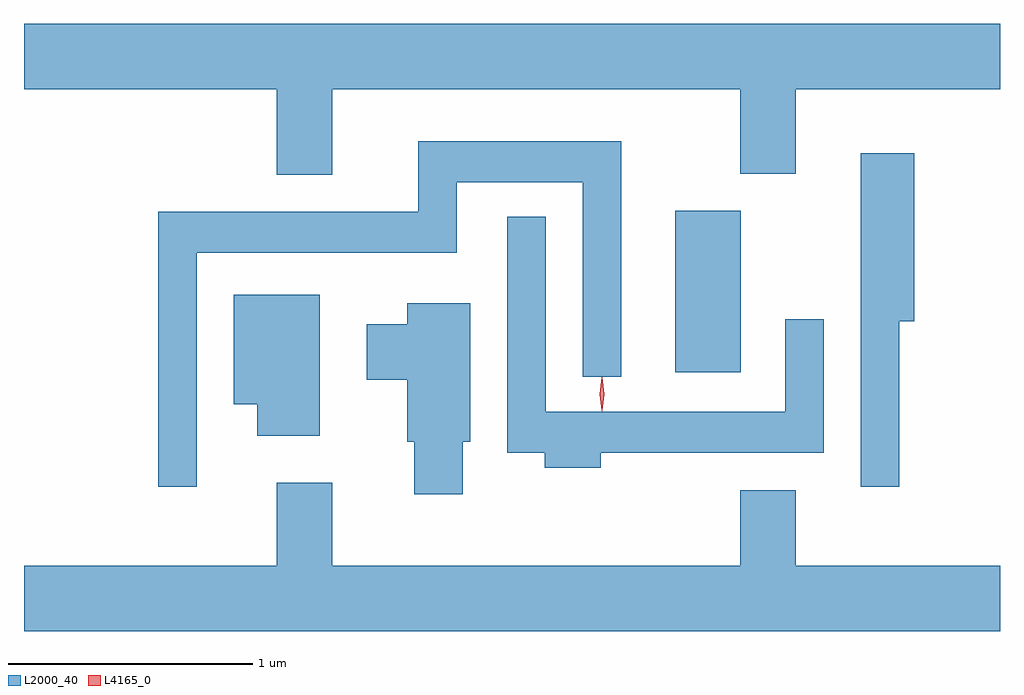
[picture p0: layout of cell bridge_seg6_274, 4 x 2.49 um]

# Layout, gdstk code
import gdstk
lib = gdstk.Library(unit=1e-6, precision=1e-09)
def R(c, l, rs):  # rectangles x0, y0, x1, y1
    for r in rs: c.add(gdstk.rectangle(r[:2], r[2:], *l))
def P(c, l, *ps):  # polygons
    for p in ps: c.add(gdstk.Polygon(p, *l))
L2000_40 = (2000, 40)
L4165_0 = (4165, 0)

bridge_seg6_274 = lib.new_cell('bridge_seg6_274')
R(bridge_seg6_274, L2000_40, [(1244.226,1562.196,1244.494,1562.859)])
P(bridge_seg6_274, L2000_40, [(1242.819,1563.356),(1244.491,1563.356),(1244.491,1563.011),(1244.719,1563.011),(1244.719,1563.356),(1245.556,1563.356),(1245.556,1563.624),(1241.556,1563.624),(1241.556,1563.356),(1242.591,1563.356),(1242.591,1563.006),(1242.819,1563.006)],
  [(1242.264,1562.686),(1243.329,1562.686),(1243.329,1562.976),(1243.846,1562.976),(1243.846,1562.178),(1244.004,1562.178),(1244.004,1563.144),(1243.171,1563.144),(1243.171,1562.854),(1242.106,1562.854),(1242.106,1561.728),(1242.264,1561.728)],
  [(1245.144,1562.406),(1245.204,1562.406),(1245.204,1563.094),(1244.986,1563.094),(1244.986,1561.728),(1245.144,1561.728)],
  [(1243.919,1561.866),(1244.834,1561.866),(1244.834,1562.413),(1244.676,1562.413),(1244.676,1562.034),(1243.694,1562.034),(1243.694,1562.833),(1243.536,1562.833),(1243.536,1561.866),(1243.691,1561.866),(1243.691,1561.806),(1243.919,1561.806)],
  [(1242.769,1562.514),(1242.416,1562.514),(1242.416,1562.066),(1242.511,1562.066),(1242.511,1561.936),(1242.769,1561.936)],
  [(1243.354,1561.911),(1243.384,1561.911),(1243.384,1562.479),(1243.126,1562.479),(1243.126,1562.394),(1242.961,1562.394),(1242.961,1562.166),(1243.126,1562.166),(1243.126,1561.911),(1243.156,1561.911),(1243.156,1561.696),(1243.354,1561.696)],
  [(1245.556,1561.404),(1244.719,1561.404),(1244.719,1561.714),(1244.491,1561.714),(1244.491,1561.404),(1242.819,1561.404),(1242.819,1561.744),(1242.591,1561.744),(1242.591,1561.404),(1241.556,1561.404),(1241.556,1561.136),(1245.556,1561.136)])
P(bridge_seg6_274, L4165_0, [(1243.925,1562.037),(1243.924,1562.038),(1243.915,1562.107),(1243.924,1562.176),(1243.925,1562.176),(1243.926,1562.176),(1243.935,1562.107),(1243.926,1562.038)],
  [(1243.924,1562.04),(1243.924,1562.04),(1243.915,1562.106),(1243.924,1562.172),(1243.925,1562.173),(1243.925,1562.172),(1243.934,1562.106),(1243.925,1562.04)])

lib.write_gds('bridge_seg6_274.gds')
